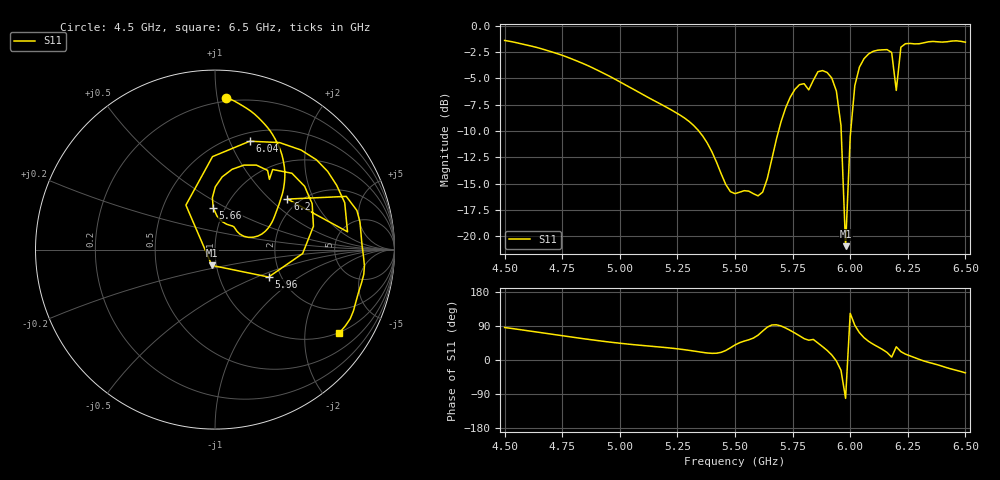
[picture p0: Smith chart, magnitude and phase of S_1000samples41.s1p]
! TOUCHSTONE file generated by CST MICROWAVE STUDIO
! Date and time: Wed Oct 26 19:17:08 2022
! Project name: L.cst
! Parameters = {Di=1.27; Epsilon_r=1.56; InnerDiameter=1.27; Length=2; Lf=10; Lg=60; OuterConductorThickness=0.2921; OuterDiameter=3.6; Wf=3; Wp=41.2; de=1.5; df=6.8; g=0.8; gx=2.4025; gy=3.9265; h=2.34; hf=1.524; px=14.436; py=13.4176; w=9.7; wx=12.0335; wy=9.49112}
! Header version: 2018
! Port assignment regex: !\s*Touchstone port\s*([0-9]+)\s*=\s*(CST MWS port|CST DS port)\s*([0-9]+|Zmin|Zmax)\s*\(\"(.*)\"\)(\s*mode\s*([0-9]+))?.*
! Touchstone port assignment:
! Touchstone port 1 = CST MWS port 1 ("")
# GHz S DB R 50
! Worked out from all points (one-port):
!   101 points, 4.5 GHz to 6.5 GHz, reference 50 ohm
!   lowest |S11| = -20.9 dB at 5.98 GHz (marker M1), VSWR 1.20, Z = 47.5 - j8.44 ohm
!   |S11| at or under -10 dB: 5.342 GHz to 5.689 GHz (346.8 MHz wide, 6.29 % of centre); 5.961 GHz to 6.002 GHz (41.45 MHz wide, 0.693 % of centre)
!   S11 on the Smith chart (normalised r, x): 4.5 GHz: 0.17, +1.06; 5.66 GHz: 0.88, +0.43; 5.96 GHz: 1.72, -0.59; 6.04 GHz: 0.59, +1.19; 6.2 GHz: 1.74, +1.30; 6.5 GHz: 0.98, -2.99
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4.5  -1.42 85.8
4.76  -2.90 63.3
5  -5.34 44.3
5.26  -8.48 28.8
5.42  -12.98 17.9
5.5  -15.95 39.7
5.62  -15.81 76.3
5.66  -12.67 92.4
5.7  -9.12 89.7
5.76  -6.06 71.1
5.82  -6.11 52.2
5.84  -5.19 54.2
5.86  -4.38 44.8
5.9  -4.46 25.3
5.94  -6.21 -2.6
5.96  -9.49 -27.1
5.98  -20.94 -101.3
6  -10.57 123.2
6.02  -5.71 91.5
6.04  -3.95 72.2
6.08  -2.69 49.2
6.16  -2.29 19.9
6.18  -2.56 7.6
6.2  -6.16 34.9
6.22  -2.06 22.1
6.26  -1.70 10.8
6.36  -1.51 -9.4
6.5  -1.58 -33.9
